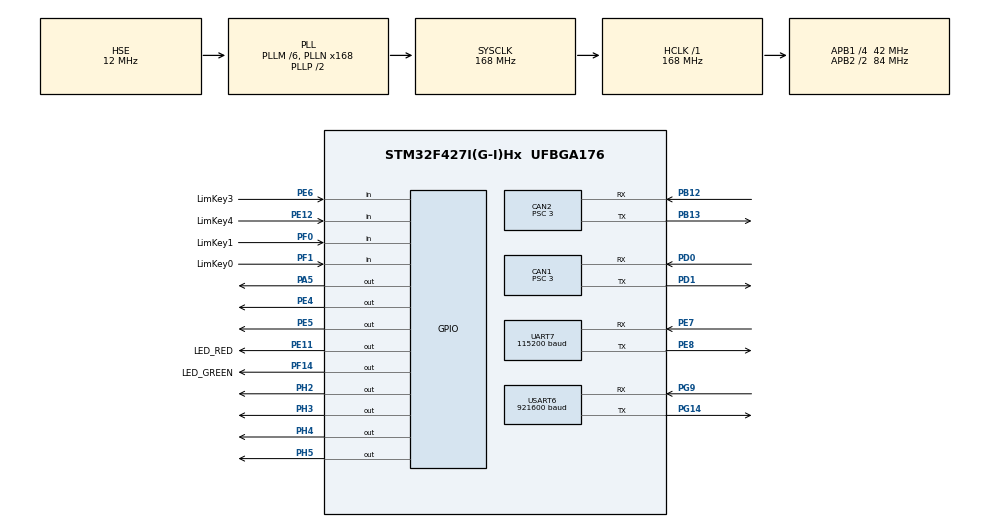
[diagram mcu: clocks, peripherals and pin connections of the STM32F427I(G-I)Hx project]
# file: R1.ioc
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CAN1.BS1=CAN_BS1_9TQ
CAN1.BS2=CAN_BS2_4TQ
CAN1.CalculateBaudRate=1000000
CAN1.CalculateTimeBit=1000
CAN1.CalculateTimeQuantum=71.42857142857143
CAN1.Prescaler=3
CAN1.TXFP=DISABLE
CAN2.BS1=CAN_BS1_9TQ
CAN2.BS2=CAN_BS2_4TQ
CAN2.CalculateBaudRate=1000000
CAN2.CalculateTimeBit=1000
CAN2.CalculateTimeQuantum=71.42857142857143
CAN2.Prescaler=3
CAN2.TXFP=DISABLE
Mcu.Family=STM32F4
Mcu.Name=STM32F427I(G-I)Hx
Mcu.Package=UFBGA176
NVIC.CAN1_RX0_IRQn=true\:0\:0\:false\:false\:true\:true\:true\:true
NVIC.CAN1_RX1_IRQn=true\:0\:0\:false\:false\:true\:true\:true\:true
NVIC.CAN2_RX0_IRQn=true\:0\:0\:false\:false\:true\:true\:true\:true
NVIC.CAN2_RX1_IRQn=true\:0\:0\:false\:false\:true\:true\:true\:true
NVIC.PriorityGroup=NVIC_PRIORITYGROUP_4
NVIC.TIM6_DAC_IRQn=true\:0\:0\:false\:false\:true\:true\:true\:true
NVIC.TIM7_IRQn=true\:0\:0\:false\:false\:true\:true\:true\:true
NVIC.UART7_IRQn=true\:0\:0\:false\:false\:true\:true\:true\:true
PA13.Mode=Serial_Wire
PA13.Signal=SYS_JTMS-SWDIO
PA14.Mode=Serial_Wire
PA14.Signal=SYS_JTCK-SWCLK
PA5.GPIO_ModeDefaultOutputPP=GPIO_MODE_OUTPUT_OD
PA5.GPIO_PuPd=GPIO_NOPULL
PA5.PinState=GPIO_PIN_SET
PA5.Signal=GPIO_Output
PB12.Mode=CAN_Activate
PB12.Signal=CAN2_RX
PB13.Mode=CAN_Activate
PB13.Signal=CAN2_TX
PD0.Mode=CAN_Activate
PD0.Signal=CAN1_RX
PD1.Mode=CAN_Activate
PD1.Signal=CAN1_TX
PE11.GPIO_Label=LED_RED
PE11.GPIO_ModeDefaultOutputPP=GPIO_MODE_OUTPUT_OD
PE11.GPIO_PuPd=GPIO_NOPULL
PE11.Signal=GPIO_Output
PE12.GPIO_Label=LimKey4
PE12.GPIO_PuPd=GPIO_PULLUP
PE12.Signal=GPIO_Input
PE4.Signal=GPIO_Output
PE5.Signal=GPIO_Output
PE6.GPIO_Label=LimKey3
PE6.GPIO_PuPd=GPIO_PULLUP
PE6.Signal=GPIO_Input
PE7.Mode=Asynchronous
PE7.Signal=UART7_RX
PE8.Mode=Asynchronous
PE8.Signal=UART7_TX
PF0.GPIO_Label=LimKey1
PF0.GPIO_PuPd=GPIO_PULLUP
PF0.Signal=GPIO_Input
PF1.GPIO_Label=LimKey0
PF1.GPIO_PuPd=GPIO_PULLUP
PF1.Signal=GPIO_Input
PF14.GPIO_Label=LED_GREEN
PF14.GPIO_ModeDefaultOutputPP=GPIO_MODE_OUTPUT_OD
PF14.GPIO_PuPd=GPIO_NOPULL
PF14.Signal=GPIO_Output
PG14.Mode=Asynchronous
PG14.Signal=USART6_TX
PG9.Mode=Asynchronous
PG9.Signal=USART6_RX
PH0/OSC_IN.Mode=HSE-External-Oscillator
PH0/OSC_IN.Signal=RCC_OSC_IN
PH1/OSC_OUT.Mode=HSE-External-Oscillator
PH1/OSC_OUT.Signal=RCC_OSC_OUT
PH2.Signal=GPIO_Output
PH3.Signal=GPIO_Output
PH4.Signal=GPIO_Output
PH5.Signal=GPIO_Output
ProjectManager.HeapSize=0x200
ProjectManager.StackSize=0x400
ProjectManager.TargetToolchain=CMake
RCC.48MHZClocksFreq_Value=48000000
RCC.AHBFreq_Value=168000000
RCC.APB1CLKDivider=RCC_HCLK_DIV4
RCC.APB1Freq_Value=42000000
RCC.APB1TimFreq_Value=84000000
RCC.APB2CLKDivider=RCC_HCLK_DIV2
RCC.APB2Freq_Value=84000000
RCC.APB2TimFreq_Value=168000000
RCC.CortexFreq_Value=168000000
RCC.HCLKFreq_Value=168000000
RCC.HSE_VALUE=12000000
RCC.HSI_VALUE=16000000
RCC.LSE_VALUE=32768
RCC.PLLM=6
RCC.PLLN=168
RCC.PLLQ=7
RCC.PLLSourceVirtual=RCC_PLLSOURCE_HSE
RCC.SYSCLKFreq_VALUE=168000000
RCC.SYSCLKSource=RCC_SYSCLKSOURCE_PLLCLK
RCC.VCOOutputFreq_Value=336000000
STMicroelectronics.X-CUBE-ALGOBUILD.1.4.0.LibraryCcDSPOoLibraryJjDSPOoLibrary=true
TIM6.Period=1999
TIM6.Prescaler=83
TIM7.Period=1999
TIM7.Prescaler=839
UART7.BaudRate=115200
UART7.Parity=PARITY_NONE
UART7.VirtualMode=Asynchronous
UART7.WordLength=WORDLENGTH_8B
USART6.BaudRate=921600
USART6.VirtualMode=VM_ASYNC
VP_CRC_VS_CRC.Mode=CRC_Activate
VP_STMicroelectronics.X-CUBE-ALGOBUILD_VS_DSPOoLibraryJjLibrary_1.4.0_1.4.0.Mode=DSPOoLibraryJjLibrary
VP_TIM6_VS_ClockSourceINT.Mode=Enable_Timer
VP_TIM7_VS_ClockSourceINT.Mode=Enable_Timer
board=UWB

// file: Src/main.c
/* USER CODE BEGIN Header */
/**
  ******************************************************************************
  * @file           : main.c
  * @brief          : Main program body
  ******************************************************************************
  * @attention
  *
  * Copyright (c) 2026 STMicroelectronics.
  * All rights reserved.
  *
  * This software is licensed under terms that can be found in the LICENSE file
  * in the root directory of this software component.
  * If no LICENSE file comes with this software, it is provided AS-IS.
  *
  ******************************************************************************
  */
/* USER CODE END Header */
#include "main.h"
#include "can.h"
#include "crc.h"
#include "tim.h"
#include "usart.h"
#include "gpio.h"

/* USER CODE BEGIN Includes */
#include "debug_assistant.h"
#include "bsp_led.h"
#include "XHU_RRC_LIB.h"
#include "chassis.h"
#include "remote_ctrl.h"
#include "platform.h"
#include "safe_task.h"
#include "can_receive.h"
#include "robot_arm.h"
/* USER CODE END Includes */

/* USER CODE BEGIN PV */
static volatile _Bool HAL_Inited_Flag = 0;
#if Serial_Plot_Enable
uint8_t channelname[] = "vx,vy,wz";
float PlotData[3] = {0};
const Serial_Plot_Packet_t Packet = {
  .huart = &huart6,
  .name = channelname,
  .name_len = sizeof(channelname),
  .plot_data = PlotData,
  .data_len = sizeof(PlotData),
  .timeout_ms = 50
};
#endif
/* USER CODE END PV */

void SystemClock_Config(void);

/* USER CODE BEGIN 0 */
void Robot_Init(void)
{
  /* ---------- BSP Init ---------- */
  bsp_LED_Init();
  bsp_LED_ALL_OFF();
  HAL_Inited_Flag = 1;
  RC_TurnOff();
  HAL_Delay(10);
  RC_TurnOn();
  HAL_Delay(10);
  can_filter_init(&hcan1);
  can_filter_init(&hcan2);
  bsp_LED_GREEN_ON();
  /* -------- SafeTask Start ------- */
  HAL_TIM_Base_Start_IT(&htim7);
  Safe_task_Update_LimFlag();
  /* --------- Module Init --------- */
  Chassis_Init();
  RC_Init();
  RobotArm_Init();
  PlatForm_Init();
  /* ----- PID Controler Start ----- */
  HAL_TIM_Base_Start_IT(&htim6);
  /* ------------ Ready ------------ */
  Safe_task_Back_to_zero();

}

/* USER CODE END 0 */

int main(void)
{

  /* MCU Configuration--------------------------------------------------------*/

  /* Reset of all peripherals, Initializes the Flash interface and the Systick. */
  HAL_Init();

  /* Configure the system clock */
  SystemClock_Config();

  /* Initialize all configured peripherals */
  MX_GPIO_Init();
  MX_CAN1_Init();
  MX_CAN2_Init();
  MX_UART7_Init();
  MX_CRC_Init();
  MX_TIM6_Init();
  MX_TIM7_Init();
  MX_USART6_UART_Init();
  /* USER CODE BEGIN 2 */
  Robot_Init();

  /* USER CODE END 2 */

  /* Infinite loop */
  /* USER CODE BEGIN WHILE */
  while (1)
  {
    if(RC_GetRxCpltFlag())
    {
      RC_ProcessedData();
    }
    if(RC_GetKeyUpdateFlag())
    {
      RC_KeyProcessed();
    }

    /* USER CODE END WHILE */

    /* USER CODE BEGIN 3 */
    if(CAN_Receive_Error_GetFlag())
    {
      CAN_Receive_ErrorProcessed();
    }
  }
  /* USER CODE END 3 */
}

void SystemClock_Config(void)
{
  RCC_OscInitTypeDef RCC_OscInitStruct = {0};
  RCC_ClkInitTypeDef RCC_ClkInitStruct = {0};

  /** Configure the main internal regulator output voltage
  */
  __HAL_RCC_PWR_CLK_ENABLE();
  __HAL_PWR_VOLTAGESCALING_CONFIG(PWR_REGULATOR_VOLTAGE_SCALE1);

  /** Initializes the RCC Oscillators according to the specified parameters
  * in the RCC_OscInitTypeDef structure.
  */
  RCC_OscInitStruct.OscillatorType = RCC_OSCILLATORTYPE_HSE;
  RCC_OscInitStruct.HSEState = RCC_HSE_ON;
  RCC_OscInitStruct.PLL.PLLState = RCC_PLL_ON;
  RCC_OscInitStruct.PLL.PLLSource = RCC_PLLSOURCE_HSE;
  RCC_OscInitStruct.PLL.PLLM = 6;
  RCC_OscInitStruct.PLL.PLLN = 168;
  RCC_OscInitStruct.PLL.PLLP = RCC_PLLP_DIV2;
  RCC_OscInitStruct.PLL.PLLQ = 7;
  if (HAL_RCC_OscConfig(&RCC_OscInitStruct) != HAL_OK)
  {
    Error_Handler();
  }

  /** Initializes the CPU, AHB and APB buses clocks
  */
  RCC_ClkInitStruct.ClockType = RCC_CLOCKTYPE_HCLK|RCC_CLOCKTYPE_SYSCLK
                              |RCC_CLOCKTYPE_PCLK1|RCC_CLOCKTYPE_PCLK2;
  RCC_ClkInitStruct.SYSCLKSource = RCC_SYSCLKSOURCE_PLLCLK;
  RCC_ClkInitStruct.AHBCLKDivider = RCC_SYSCLK_DIV1;
  RCC_ClkInitStruct.APB1CLKDivider = RCC_HCLK_DIV4;
  RCC_ClkInitStruct.APB2CLKDivider = RCC_HCLK_DIV2;

  if (HAL_RCC_ClockConfig(&RCC_ClkInitStruct, FLASH_LATENCY_5) != HAL_OK)
  {
    Error_Handler();
  }
}

/* USER CODE BEGIN 4 */
void HAL_TIM_PeriodElapsedCallback(TIM_HandleTypeDef *htim)
{
  if(htim->Instance == TIM6)  //PID 2ms
  {
    Chassis_TIM_PeriodCallback();
    PlatForm_TIM_PeriodCallback();
  }
  if(htim->Instance == TIM7)  // SafeTask
  {
    Safe_task_TIM_PeriodCallback();
  }
}
/* USER CODE END 4 */

void Error_Handler(void)
{
  /* USER CODE BEGIN Error_Handler_Debug */
  uint32_t i = 0;
  uint32_t cycle = SystemCoreClock/15;
  /* User can add his own implementation to report the HAL error return state */
  __disable_irq();
  while (1)
  {
    if(HAL_Inited_Flag)
    {
      bsp_LED_RED_ON();
      for(i=0;i<cycle;i++)
      {   }
      bsp_LED_RED_OFF();
      for(i=0;i<cycle;i++)
      {   }
    }
  }
  /* USER CODE END Error_Handler_Debug */
}
